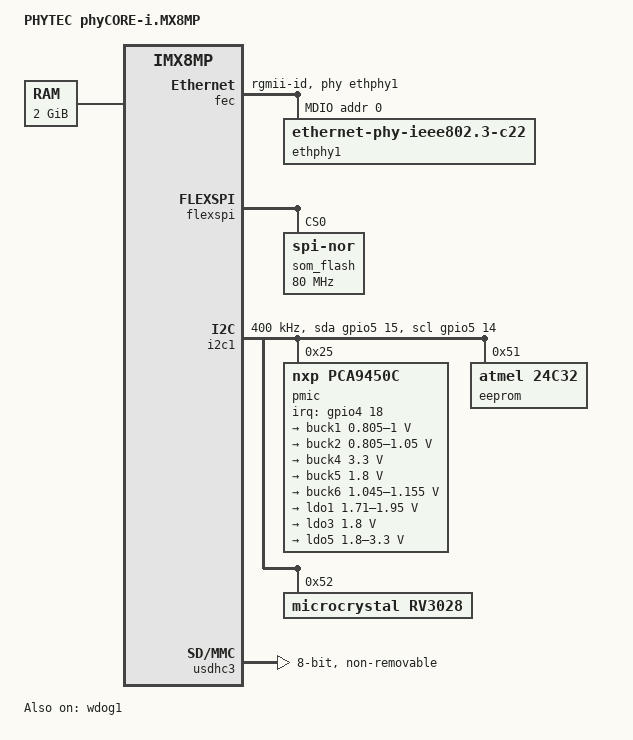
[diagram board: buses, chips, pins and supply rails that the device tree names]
// SPDX-License-Identifier: GPL-2.0
/*
 * Copyright (C) 2020 PHYTEC Messtechnik GmbH
 * Author: Teresa Remmet <t.remmet@phytec.de>
 */

#include <dt-bindings/net/ti-dp83867.h>
#include "imx8mp.dtsi"

/ {
	model = "PHYTEC phyCORE-i.MX8MP";
	compatible = "phytec,imx8mp-phycore-som", "fsl,imx8mp";

	aliases {
		rtc0 = &rv3028;
		rtc1 = &snvs_rtc;
	};

	memory@40000000 {
		device_type = "memory";
		reg = <0x0 0x40000000 0 0x80000000>;
	};
};

&A53_0 {
	cpu-supply = <&buck2>;
};

&A53_1 {
	cpu-supply = <&buck2>;
};

&A53_2 {
	cpu-supply = <&buck2>;
};

&A53_3 {
	cpu-supply = <&buck2>;
};

/* ethernet 1 */
&fec {
	pinctrl-names = "default";
	pinctrl-0 = <&pinctrl_fec>;
	phy-handle = <&ethphy1>;
	phy-mode = "rgmii-id";
	fsl,magic-packet;
	status = "okay";

	mdio {
		#address-cells = <1>;
		#size-cells = <0>;

		ethphy1: ethernet-phy@0 {
			compatible = "ethernet-phy-ieee802.3-c22";
			reg = <0>;
			enet-phy-lane-no-swap;
			ti,clk-output-sel = <DP83867_CLK_O_SEL_OFF>;
			ti,fifo-depth = <DP83867_PHYCR_FIFO_DEPTH_4_B_NIB>;
			ti,min-output-impedance;
			ti,rx-internal-delay = <DP83867_RGMIIDCTL_2_00_NS>;
			ti,tx-internal-delay = <DP83867_RGMIIDCTL_2_00_NS>;
		};
	};
};

&flexspi {
	pinctrl-names = "default";
	pinctrl-0 = <&pinctrl_flexspi0>;
	status = "okay";

	som_flash: flash@0 {
		compatible = "jedec,spi-nor";
		reg = <0>;
		spi-max-frequency = <80000000>;
		spi-rx-bus-width = <4>;
		spi-tx-bus-width = <1>;
	};
};

&i2c1 {
	clock-frequency = <400000>;
	pinctrl-names = "default", "gpio";
	pinctrl-0 = <&pinctrl_i2c1>;
	pinctrl-1 = <&pinctrl_i2c1_gpio>;
	scl-gpios = <&gpio5 14 (GPIO_ACTIVE_HIGH | GPIO_OPEN_DRAIN)>;
	sda-gpios = <&gpio5 15 (GPIO_ACTIVE_HIGH | GPIO_OPEN_DRAIN)>;
	status = "okay";

	pmic: pmic@25 {
		compatible = "nxp,pca9450c";
		reg = <0x25>;
		interrupts = <18 IRQ_TYPE_LEVEL_LOW>;
		interrupt-parent = <&gpio4>;
		pinctrl-names = "default";
		pinctrl-0 = <&pinctrl_pmic>;

		regulators {
			buck1: BUCK1 {
				regulator-always-on;
				regulator-boot-on;
				regulator-max-microvolt = <1000000>;
				regulator-min-microvolt = <805000>;
				regulator-name = "VDD_SOC (BUCK1)";
				regulator-ramp-delay = <3125>;
			};

			buck2: BUCK2 {
				nxp,dvs-run-voltage = <950000>;
				nxp,dvs-standby-voltage = <850000>;
				regulator-always-on;
				regulator-boot-on;
				regulator-max-microvolt = <1050000>;
				regulator-min-microvolt = <805000>;
				regulator-name = "VDD_ARM (BUCK2)";
				regulator-ramp-delay = <3125>;
			};

			buck4: BUCK4 {
				regulator-always-on;
				regulator-boot-on;
				regulator-max-microvolt = <3300000>;
				regulator-min-microvolt = <3300000>;
				regulator-name = "VDD_3V3 (BUCK4)";
			};

			buck5: BUCK5 {
				regulator-always-on;
				regulator-boot-on;
				regulator-max-microvolt = <1800000>;
				regulator-min-microvolt = <1800000>;
				regulator-name = "VDD_1V8 (BUCK5)";
			};

			buck6: BUCK6 {
				regulator-always-on;
				regulator-boot-on;
				regulator-max-microvolt = <1155000>;
				regulator-min-microvolt = <1045000>;
				regulator-name = "NVCC_DRAM_1V1 (BUCK6)";
			};

			ldo1: LDO1 {
				regulator-always-on;
				regulator-boot-on;
				regulator-max-microvolt = <1950000>;
				regulator-min-microvolt = <1710000>;
				regulator-name = "NVCC_SNVS_1V8 (LDO1)";
			};

			ldo3: LDO3 {
				regulator-always-on;
				regulator-boot-on;
				regulator-max-microvolt = <1800000>;
				regulator-min-microvolt = <1800000>;
				regulator-name = "VDDA_1V8 (LDO3)";
			};

			ldo5: LDO5 {
				regulator-always-on;
				regulator-boot-on;
				regulator-max-microvolt = <3300000>;
				regulator-min-microvolt = <1800000>;
				regulator-name = "NVCC_SD2 (LDO5)";
			};
		};
	};

	eeprom@51 {
		compatible = "atmel,24c32";
		reg = <0x51>;
		pagesize = <32>;
	};

	rv3028: rtc@52 {
		compatible = "microcrystal,rv3028";
		reg = <0x52>;
		trickle-resistor-ohms = <3000>;
	};
};

/* eMMC */
&usdhc3 {
	assigned-clocks = <&clk IMX8MP_CLK_USDHC3_ROOT>;
	assigned-clock-rates = <400000000>;
	pinctrl-names = "default", "state_100mhz", "state_200mhz";
	pinctrl-0 = <&pinctrl_usdhc3>;
	pinctrl-1 = <&pinctrl_usdhc3_100mhz>;
	pinctrl-2 = <&pinctrl_usdhc3_200mhz>;
	bus-width = <8>;
	non-removable;
	status = "okay";
};

&wdog1 {
	pinctrl-names = "default";
	pinctrl-0 = <&pinctrl_wdog>;
	fsl,ext-reset-output;
	status = "okay";
};

&iomuxc {
	pinctrl_fec: fecgrp {
		fsl,pins = <
			MX8MP_IOMUXC_SAI1_RXD2__ENET1_MDC		0x2
			MX8MP_IOMUXC_SAI1_RXD3__ENET1_MDIO		0x2
			MX8MP_IOMUXC_SAI1_RXD4__ENET1_RGMII_RD0		0x90
			MX8MP_IOMUXC_SAI1_RXD5__ENET1_RGMII_RD1		0x90
			MX8MP_IOMUXC_SAI1_RXD6__ENET1_RGMII_RD2		0x90
			MX8MP_IOMUXC_SAI1_RXD7__ENET1_RGMII_RD3		0x90
			MX8MP_IOMUXC_SAI1_TXC__ENET1_RGMII_RXC		0x90
			MX8MP_IOMUXC_SAI1_TXD0__ENET1_RGMII_TD0		0x12
			MX8MP_IOMUXC_SAI1_TXD1__ENET1_RGMII_TD1		0x12
			MX8MP_IOMUXC_SAI1_TXD2__ENET1_RGMII_TD2		0x14
			MX8MP_IOMUXC_SAI1_TXD3__ENET1_RGMII_TD3		0x14
			MX8MP_IOMUXC_SAI1_TXD4__ENET1_RGMII_TX_CTL	0x14
			MX8MP_IOMUXC_SAI1_TXD5__ENET1_RGMII_TXC		0x14
			MX8MP_IOMUXC_SAI1_TXFS__ENET1_RGMII_RX_CTL	0x90
		>;
	};

	pinctrl_flexspi0: flexspi0grp {
		fsl,pins = <
			MX8MP_IOMUXC_NAND_ALE__FLEXSPI_A_SCLK		0x1c2
			MX8MP_IOMUXC_NAND_CE0_B__FLEXSPI_A_SS0_B	0x82
			MX8MP_IOMUXC_NAND_DATA00__FLEXSPI_A_DATA00	0x82
			MX8MP_IOMUXC_NAND_DATA01__FLEXSPI_A_DATA01	0x82
			MX8MP_IOMUXC_NAND_DATA02__FLEXSPI_A_DATA02	0x82
			MX8MP_IOMUXC_NAND_DATA03__FLEXSPI_A_DATA03	0x82
		>;
	};

	pinctrl_i2c1: i2c1grp {
		fsl,pins = <
			MX8MP_IOMUXC_I2C1_SDA__I2C1_SDA		0x400001c2
			MX8MP_IOMUXC_I2C1_SCL__I2C1_SCL		0x400001c2
		>;
	};

	pinctrl_i2c1_gpio: i2c1gpiogrp {
		fsl,pins = <
			MX8MP_IOMUXC_I2C1_SCL__GPIO5_IO14	0x1e2
			MX8MP_IOMUXC_I2C1_SDA__GPIO5_IO15	0x1e2
		>;
	};

	pinctrl_pmic: pmicirqgrp {
		fsl,pins = <
			MX8MP_IOMUXC_SAI1_TXD6__GPIO4_IO18	0x140
		>;
	};

	pinctrl_usdhc3: usdhc3grp {
		fsl,pins = <
			MX8MP_IOMUXC_NAND_CE1_B__USDHC3_STROBE	0x190
			MX8MP_IOMUXC_NAND_CE2_B__USDHC3_DATA5	0x1d0
			MX8MP_IOMUXC_NAND_CE3_B__USDHC3_DATA6	0x1d0
			MX8MP_IOMUXC_NAND_CLE__USDHC3_DATA7	0x1d0
			MX8MP_IOMUXC_NAND_DATA04__USDHC3_DATA0	0x1d0
			MX8MP_IOMUXC_NAND_DATA05__USDHC3_DATA1	0x1d0
			MX8MP_IOMUXC_NAND_DATA06__USDHC3_DATA2	0x1d0
			MX8MP_IOMUXC_NAND_DATA07__USDHC3_DATA3	0x1d0
			MX8MP_IOMUXC_NAND_RE_B__USDHC3_DATA4	0x1d0
			MX8MP_IOMUXC_NAND_WE_B__USDHC3_CLK	0x190
			MX8MP_IOMUXC_NAND_WP_B__USDHC3_CMD	0x1d0
		>;
	};

	pinctrl_usdhc3_100mhz: usdhc3-100mhzgrp {
		fsl,pins = <
			MX8MP_IOMUXC_NAND_CE1_B__USDHC3_STROBE	0x194
			MX8MP_IOMUXC_NAND_CE2_B__USDHC3_DATA5	0x1d4
			MX8MP_IOMUXC_NAND_CE3_B__USDHC3_DATA6	0x1d4
			MX8MP_IOMUXC_NAND_CLE__USDHC3_DATA7	0x1d4
			MX8MP_IOMUXC_NAND_DATA04__USDHC3_DATA0	0x1d4
			MX8MP_IOMUXC_NAND_DATA05__USDHC3_DATA1	0x1d4
			MX8MP_IOMUXC_NAND_DATA06__USDHC3_DATA2	0x1d4
			MX8MP_IOMUXC_NAND_DATA07__USDHC3_DATA3	0x1d4
			MX8MP_IOMUXC_NAND_RE_B__USDHC3_DATA4	0x1d4
			MX8MP_IOMUXC_NAND_WE_B__USDHC3_CLK	0x194
			MX8MP_IOMUXC_NAND_WP_B__USDHC3_CMD	0x1d4
		>;
	};

	pinctrl_usdhc3_200mhz: usdhc3-200mhzgrp {
		fsl,pins = <
			MX8MP_IOMUXC_NAND_CE1_B__USDHC3_STROBE	0x196
			MX8MP_IOMUXC_NAND_CE2_B__USDHC3_DATA5	0x1d2
			MX8MP_IOMUXC_NAND_CE3_B__USDHC3_DATA6	0x1d2
			MX8MP_IOMUXC_NAND_CLE__USDHC3_DATA7	0x1d2
			MX8MP_IOMUXC_NAND_DATA04__USDHC3_DATA0	0x1d2
			MX8MP_IOMUXC_NAND_DATA05__USDHC3_DATA1	0x1d2
			MX8MP_IOMUXC_NAND_DATA06__USDHC3_DATA2	0x1d2
			MX8MP_IOMUXC_NAND_DATA07__USDHC3_DATA3	0x1d2
			MX8MP_IOMUXC_NAND_RE_B__USDHC3_DATA4	0x1d2
			MX8MP_IOMUXC_NAND_WE_B__USDHC3_CLK	0x196
			MX8MP_IOMUXC_NAND_WP_B__USDHC3_CMD	0x1d6
		>;
	};

	pinctrl_wdog: wdoggrp {
		fsl,pins = <
			MX8MP_IOMUXC_GPIO1_IO02__WDOG1_WDOG_B	0xe6
		>;
	};
};
